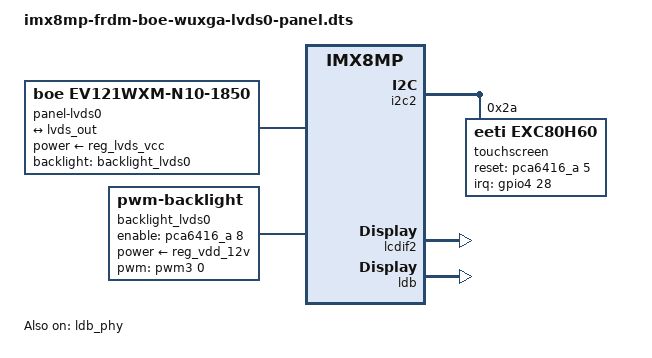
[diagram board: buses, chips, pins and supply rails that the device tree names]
// SPDX-License-Identifier: (GPL-2.0+ OR MIT)
/*
 * Copyright 2025 NXP
 */

#include "imx8mp-frdm.dts"

/ {
	panel-lvds0 {
		compatible = "boe,ev121wxm-n10-1850";
		backlight = <&backlight_lvds0>;
		power-supply = <&reg_lvds_vcc>;

		port {
			panel_lvds_in: endpoint {
				remote-endpoint = <&lvds_out>;
			};
		};
	};

	backlight_lvds0: backlight-lvds0 {
		compatible = "pwm-backlight";
		enable-gpios = <&pca6416_a 8 GPIO_ACTIVE_HIGH>;
		pwms = <&pwm3 0 100000 0>;
		power-supply = <&reg_vdd_12v>;
		brightness-levels = <0 100>;
		num-interpolated-steps = <100>;
		default-brightness-level = <80>;
	};
};

&i2c2 {
	touchscreen@2a {
		compatible = "eeti,exc80h60";
		reg = <0x2a>;
		pinctrl-names = "default";
		pinctrl-0 = <&pinctrl_lvds_ctp_int_0>;
		interrupt-parent = <&gpio4>;
		interrupts = <28 IRQ_TYPE_LEVEL_LOW>;
		reset-gpios = <&pca6416_a 5 GPIO_ACTIVE_HIGH>;
		touchscreen-size-y = <4096>;
		touchscreen-size-x = <4096>;
	};
};

&lcdif2 {
	status = "okay";
};

&ldb {
	status = "okay";

	lvds-channel@0 {
		status = "okay";

		port@1 {
			reg = <1>;

			lvds_out: endpoint {
				remote-endpoint = <&panel_lvds_in>;
			};
		};
	};
};

&ldb_phy {
	status = "okay";
};

&iomuxc {
	pinctrl_lvds_ctp_int_0: lvds_ctp_int_grp_0 {
		fsl,pins = <
			MX8MP_IOMUXC_SAI3_RXFS__GPIO4_IO28		  0x31e
		>;
	};
};
